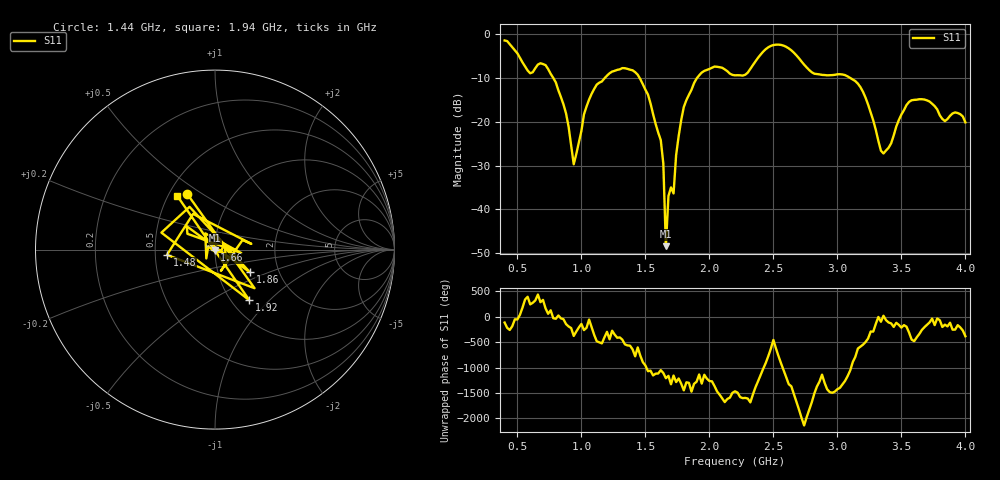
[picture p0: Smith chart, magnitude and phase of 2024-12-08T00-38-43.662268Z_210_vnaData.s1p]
!Created with skrf (http://scikit-rf.org).
# Hz S RI R 50.0
!freq ReS11 ImS11
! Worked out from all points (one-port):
!   181 points, 400 MHz to 4 GHz, reference 50 ohm
!   lowest |S11| = -48.5 dB at 1.66 GHz (marker M1), VSWR 1.01, Z = 49.8 - j0.294 ohm
!   |S11| at or under -10 dB: 781.3 MHz to 1.181 GHz (400.2 MHz wide, 40.8 % of centre); 1.456 GHz to 1.902 GHz (446.7 MHz wide, 26.6 % of centre); 3.102 GHz to end of sweep
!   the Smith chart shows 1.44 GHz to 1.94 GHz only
!   S11 on the Smith chart (normalised r, x): 1.44 GHz: 0.62, +0.43; 1.48 GHz: 0.58, -0.04; 1.66 GHz: 1.00, -0.01; 1.86 GHz: 1.42, -0.38; 1.92 GHz: 1.20, -0.77; 1.94 GHz: 0.56, +0.39
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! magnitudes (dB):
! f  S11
! 400 MHz  -1.4
! 600 MHz  -8.9
! 720 MHz  -7.0
! 860 MHz  -16.0
! 940 MHz  -29.7
! 1.08 GHz  -13.6
! 1.3 GHz  -8.0
! 1.44 GHz  -9.2
! 1.48 GHz  -11.4
! 1.62 GHz  -24.2
! 1.64 GHz  -29.5
! 1.66 GHz  -48.5
! 1.68 GHz  -37.0
! 1.72 GHz  -36.4
! 1.76 GHz  -23.2
! 1.8 GHz  -16.6
! 1.86 GHz  -12.7
! 1.92 GHz  -9.4
! 1.94 GHz  -8.7
! 2.2 GHz  -9.3
! 2.48 GHz  -2.6
! 2.66 GHz  -4.2
! 2.82 GHz  -9.0
! 3.1 GHz  -10.0
! 3.2 GHz  -13.1
! 3.36 GHz  -27.2
! 3.56 GHz  -15.4
! 4 GHz  -20.1
